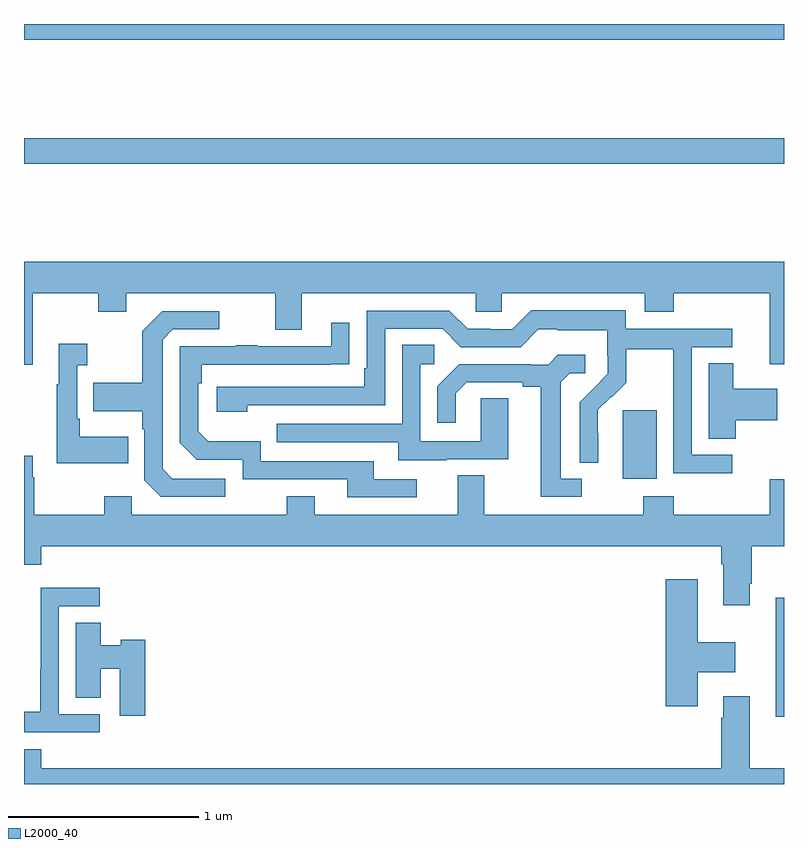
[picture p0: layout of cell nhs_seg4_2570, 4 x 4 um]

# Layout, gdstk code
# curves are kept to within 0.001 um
import gdstk
lib = gdstk.Library(unit=1e-6, precision=1e-09)
def R(c, l, rs):  # rectangles x0, y0, x1, y1
    for r in rs: c.add(gdstk.rectangle(r[:2], r[2:], *l))
def P(c, l, *ps):  # polygons
    for p in ps: c.add(gdstk.Polygon(p, *l))
L2000_40 = (2000, 40)

nhs_seg4_2570 = lib.new_cell('nhs_seg4_2570')
R(nhs_seg4_2570, L2000_40, [(248.957,797.253,249,797.881), (248.15,798.506,248.329,798.867), (245,800.164,249,800.3), (245,800.816,249,800.9)])
P(nhs_seg4_2570, L2000_40, [(245.047,799.484),(245.392,799.484),(245.392,799.385),(245.539,799.385),(245.539,799.484),(246.323,799.484),(246.323,799.29),(246.463,799.29),(246.463,799.484),(247.377,799.484),(247.377,799.386),(247.515,799.386),(247.515,799.484),(248.267,799.484),(248.267,799.385),(248.42,799.385),(248.42,799.484),(248.924,799.484),(248.924,799.11),(249,799.11),(249,799.648),(245,799.648),(245,799.107),(245.047,799.107)],
  [(248.728,798.633),(248.514,798.633),(248.514,799.2),(248.728,799.2),(248.728,799.296),(248.166,799.296),(248.166,799.393),(247.669,799.393),(247.569,799.293),(247.454,799.293),(247.454,799.296),(247.335,799.296),(247.239,799.392),(246.804,799.392),(246.804,799.087),(246.791,799.087),(246.791,798.99),(246.015,798.99),(246.015,798.86),(246.176,798.86),(246.176,798.894),(246.9,798.894),(246.9,799.296),(247.203,799.296),(247.299,799.2),(247.614,799.2),(247.707,799.293),(247.807,799.293),(247.807,799.289),(248.07,799.289),(248.07,799.155),(248.072,799.155),(248.072,799.058),(247.926,798.91),(247.926,798.592),(248.022,798.592),(248.021,798.869),(248.091,798.939),(248.094,798.936),(248.171,799.013),(248.171,799.188),(248.416,799.188),(248.416,798.964),(248.418,798.964),(248.418,798.535),(248.728,798.535)],
  [(246.058,798.507),(245.781,798.507),(245.73,798.558),(245.73,799.239),(245.784,799.293),(246.028,799.293),(246.028,799.389),(245.727,799.389),(245.622,799.283),(245.622,799.011),(245.365,799.011),(245.365,798.863),(245.622,798.863),(245.622,798.767),(245.634,798.767),(245.634,798.498),(245.721,798.411),(246.058,798.411)],
  [(247.066,798.504),(246.841,798.504),(246.841,798.6),(246.246,798.6),(246.246,798.703),(245.969,798.703),(245.916,798.756),(245.916,799.01),(245.936,799.01),(245.936,799.107),(246.713,799.108),(246.713,799.327),(246.617,799.327),(246.617,799.203),(246.227,799.203),(246.227,799.208),(246.115,799.208),(246.115,799.203),(245.82,799.203),(245.82,798.696),(245.91,798.606),(246.15,798.606),(246.15,798.504),(246.701,798.504),(246.701,798.408),(247.066,798.408)],
  [(245.549,798.727),(245.293,798.727),(245.293,798.823),(245.28,798.823),(245.28,799.103),(245.332,799.103),(245.332,799.216),(245.183,799.216),(245.183,799.003),(245.172,799.003),(245.172,798.587),(245.549,798.587)],
  [(247.225,798.609),(247.549,798.609),(247.549,798.929),(247.404,798.929),(247.404,798.705),(247.086,798.705),(247.086,799.11),(247.159,799.11),(247.159,799.211),(246.99,799.211),(246.99,798.795),(246.331,798.795),(246.331,798.699),(246.971,798.699),(246.971,798.605),(247.225,798.605)],
  [(247.936,798.507),(247.825,798.507),(247.825,799.015),(247.872,799.062),(247.954,799.062),(247.954,799.159),(247.81,799.159),(247.758,799.107),(247.664,799.107),(247.664,799.11),(247.292,799.11),(247.176,798.994),(247.176,798.801),(247.273,798.801),(247.273,798.957),(247.33,799.014),(247.625,799.014),(247.625,798.992),(247.721,798.992),(247.721,798.411),(247.936,798.411)],
  [(248.747,798.814),(248.965,798.814),(248.965,798.979),(248.734,798.979),(248.734,799.115),(248.603,799.115),(248.603,798.718),(248.747,798.718)],
  [(248.821,797.953),(248.829,797.953),(248.829,798.152),(249,798.152),(249,798.505),(248.924,798.505),(248.924,798.316),(248.42,798.316),(248.42,798.415),(248.26,798.415),(248.26,798.316),(247.423,798.316),(247.423,798.524),(247.283,798.524),(247.283,798.316),(246.529,798.316),(246.529,798.415),(246.382,798.415),(246.382,798.316),(245.568,798.316),(245.568,798.415),(245.422,798.415),(245.422,798.316),(245.055,798.316),(245.055,798.515),(245.047,798.515),(245.047,798.628),(245,798.628),(245,798.053),(245.09,798.053),(245.09,798.152),(248.669,798.152),(248.669,798.056),(248.681,798.056),(248.681,797.841),(248.821,797.841)],
  [(248.545,797.489),(248.743,797.489),(248.743,797.647),(248.545,797.647),(248.545,797.977),(248.378,797.977),(248.378,797.31),(248.545,797.31)],
  [(245.398,797.268),(245.184,797.268),(245.184,797.835),(245.398,797.835),(245.398,797.934),(245.088,797.934),(245.088,797.504),(245.086,797.504),(245.086,797.281),(245,797.281),(245,797.172),(245.398,797.172)],
  [(245.639,797.66),(245.508,797.66),(245.508,797.629),(245.404,797.629),(245.404,797.75),(245.273,797.75),(245.273,797.353),(245.404,797.353),(245.404,797.507),(245.504,797.507),(245.504,797.259),(245.639,797.259)],
  [(249,796.984),(248.821,796.984),(248.821,797.362),(248.681,797.362),(248.681,797.249),(248.669,797.249),(248.669,796.984),(245.09,796.984),(245.09,797.083),(245,797.083),(245,796.9),(249,796.9)])

lib.write_gds('nhs_seg4_2570.gds')
